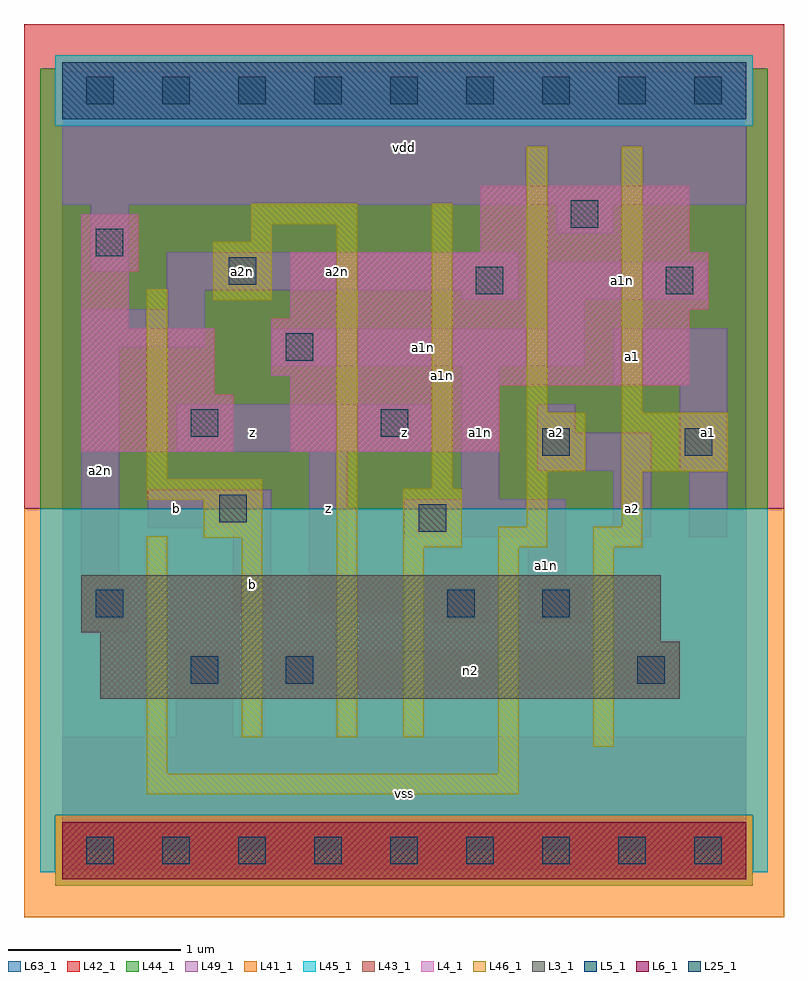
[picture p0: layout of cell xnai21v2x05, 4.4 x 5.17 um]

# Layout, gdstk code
import gdstk
lib = gdstk.Library(unit=1e-6, precision=1e-09)
def R(c, l, rs):  # rectangles x0, y0, x1, y1
    for r in rs: c.add(gdstk.rectangle(r[:2], r[2:], *l))
def A(c, l, x, y, w, h, nx, ny, dx, dy):  # array of equal rectangles
    R(c, l, [(x+i*dx, y+j*dy, x+i*dx+w, y+j*dy+h) for i in range(nx) for j in range(ny)])
L3_1 = (3, 1)
L4_1 = (4, 1)
L5_1 = (5, 1)
L6_1 = (6, 1)
L25_1 = (25, 1)
L41_1 = (41, 1)
L42_1 = (42, 1)
L43_1 = (43, 1)
L44_1 = (44, 1)
L45_1 = (45, 1)
L46_1 = (46, 1)
L49_1 = (49, 1)
L63_1 = (63, 1)

xnai21v2x05 = lib.new_cell('xnai21v2x05')
R(xnai21v2x05, L3_1, [(0.22,0.88,3.575,1.21), (0.22,1.21,3.465,1.265), (0.11,1.265,3.465,1.595)])
R(xnai21v2x05, L4_1, [(0.11,2.31,0.99,2.64), (1.32,2.31,2.53,2.695), (0.11,2.64,0.88,3.025), (1.32,2.695,3.63,2.75), (1.21,2.75,3.63,3.08), (0.11,3.025,0.385,3.355), (1.32,3.08,3.63,3.135), (1.32,3.135,3.74,3.465), (0.11,3.355,0.44,3.685), (2.42,3.465,3.63,3.85)])
R(xnai21v2x05, L5_1, [(0,4.235,3.96,4.565)])
R(xnai21v2x05, L6_1, [(0,-0.165,3.96,0.165)])
A(xnai21v2x05, L25_1, 0.14, -0.08, 0.16, 0.16, 9, 2, 0.44, 4.4)
R(xnai21v2x05, L25_1, [(0.745,0.965,0.905,1.125), (1.295,0.965,1.455,1.125), (3.33,0.965,3.49,1.125), (0.195,1.35,0.355,1.51), (2.23,1.35,2.39,1.51), (2.78,1.35,2.94,1.51), (2.065,1.845,2.225,2.005), (0.91,1.9,1.07,2.06), (2.78,2.285,2.94,2.445), (3.605,2.285,3.765,2.445), (0.745,2.395,0.905,2.555), (1.845,2.395,2.005,2.555), (1.295,2.835,1.455,2.995), (2.395,3.22,2.555,3.38), (3.495,3.22,3.655,3.38), (0.965,3.275,1.125,3.435), (0.195,3.44,0.355,3.6), (2.945,3.605,3.105,3.765)])
R(xnai21v2x05, L41_1, [(-0.22,-0.385,4.18,1.98)])
R(xnai21v2x05, L42_1, [(-0.22,1.98,4.18,4.785)])
R(xnai21v2x05, L43_1, [(0,-0.165,3.96,0.165), (0.22,0.88,3.575,1.21), (0.22,1.21,3.465,1.265), (0.11,1.265,3.465,1.595), (0.11,2.31,0.99,2.64), (1.32,2.31,2.53,2.695), (0.11,2.64,0.88,3.025), (1.32,2.695,3.63,2.75), (1.21,2.75,3.63,3.08), (0.11,3.025,0.385,3.355), (1.32,3.08,3.63,3.135), (1.32,3.135,3.74,3.465), (0.11,3.355,0.44,3.685), (2.42,3.465,3.63,3.85), (0,4.235,3.96,4.565)])
R(xnai21v2x05, L44_1, [(-0.04,-0.205,4,0.205), (-0.125,1.98,4.085,4.195), (-0.125,4.195,-0.04,4.525), (4,4.195,4.085,4.525)])
R(xnai21v2x05, L45_1, [(-0.125,-0.125,-0.04,0.205), (4,-0.125,4.085,0.205), (-0.125,0.205,4.085,1.98), (-0.04,4.195,4,4.605)])
R(xnai21v2x05, L46_1, [(0.49,0.325,2.645,0.445), (0.49,0.445,0.61,1.82), (2.525,0.445,2.645,1.755), (3.075,0.6,3.195,1.755), (1.04,0.655,1.16,1.81), (1.59,0.655,1.71,3.625), (1.975,0.655,2.095,1.755), (1.975,1.755,2.315,2.095), (2.525,1.755,2.81,1.875), (3.075,1.755,3.36,1.875), (0.82,1.81,1.16,2.03), (2.69,1.875,2.81,2.195), (3.24,1.875,3.36,2.195), (0.49,2.03,1.16,2.15), (2.14,2.095,2.26,3.745), (0.49,2.15,0.61,3.25), (2.69,2.195,3.03,2.535), (3.24,2.195,3.855,2.535), (2.69,2.535,2.81,4.075), (3.24,2.535,3.36,4.075), (0.875,3.185,1.215,3.525), (1.095,3.525,1.215,3.625), (1.095,3.625,1.71,3.745)])
R(xnai21v2x05, L49_1, [(0,-0.11,3.96,0.66), (0.66,0.66,0.99,1.155), (1.21,0.935,3.575,1.155), (0.11,1.265,0.385,1.595), (2.145,1.32,2.475,1.375), (2.695,1.32,3.025,1.54), (0.99,1.375,1.21,1.87), (1.43,1.375,2.475,1.595), (2.695,1.54,2.915,1.815), (0.11,1.595,0.33,2.915), (1.43,1.595,1.65,2.31), (1.98,1.815,2.915,2.035), (3.19,1.815,3.41,2.2), (3.63,1.815,3.85,2.2), (0.495,1.87,1.21,2.09), (2.31,2.035,2.53,2.805), (2.75,2.2,3.41,2.42), (3.575,2.2,3.85,2.695), (0.66,2.31,2.145,2.585), (2.75,2.42,2.97,2.585), (3.19,2.695,3.85,3.025), (1.21,2.805,3.025,3.025), (0.11,2.915,0.825,3.135), (2.805,3.025,3.025,3.19), (0.605,3.135,0.825,3.245), (2.31,3.19,2.64,3.245), (2.805,3.19,3.74,3.41), (0.605,3.245,2.64,3.465), (0.165,3.355,0.385,3.74), (2.86,3.575,3.19,3.74), (0,3.74,3.96,4.51)])
R(xnai21v2x05, L63_1, [(0,0,3.96,4.4)])
xnai21v2x05.add(gdstk.Label('a2n', (1.045,3.355), layer=49, texttype=1))
xnai21v2x05.add(gdstk.Label('a1n', (2.2,2.75), layer=46, texttype=1))
xnai21v2x05.add(gdstk.Label('a2n', (0.22,2.2), layer=49, texttype=1))
xnai21v2x05.add(gdstk.Label('b', (1.1,1.54), layer=49, texttype=1))
xnai21v2x05.add(gdstk.Label('b', (0.66,1.98), layer=49, texttype=1))
xnai21v2x05.add(gdstk.Label('z', (1.1,2.42), layer=49, texttype=1))
xnai21v2x05.add(gdstk.Label('vss', (1.98,0.33), layer=49, texttype=1))
xnai21v2x05.add(gdstk.Label('z', (1.54,1.98), layer=49, texttype=1))
xnai21v2x05.add(gdstk.Label('z', (1.98,2.42), layer=49, texttype=1))
xnai21v2x05.add(gdstk.Label('vdd', (1.98,4.07), layer=49, texttype=1))
xnai21v2x05.add(gdstk.Label('a1n', (2.805,1.65), layer=49, texttype=1))
xnai21v2x05.add(gdstk.Label('a2', (2.86,2.42), layer=49, texttype=1))
xnai21v2x05.add(gdstk.Label('a1n', (2.42,2.42), layer=49, texttype=1))
xnai21v2x05.add(gdstk.Label('a2n', (1.595,3.355), layer=49, texttype=1))
xnai21v2x05.add(gdstk.Label('a1n', (2.09,2.915), layer=49, texttype=1))
xnai21v2x05.add(gdstk.Label('n2', (2.365,1.045), layer=49, texttype=1))
xnai21v2x05.add(gdstk.Label('a2', (3.3,1.98), layer=49, texttype=1))
xnai21v2x05.add(gdstk.Label('a1', (3.74,2.42), layer=49, texttype=1))
xnai21v2x05.add(gdstk.Label('a1', (3.3,2.86), layer=49, texttype=1))
xnai21v2x05.add(gdstk.Label('a1n', (3.245,3.3), layer=49, texttype=1))

lib.write_gds('xnai21v2x05.gds')
